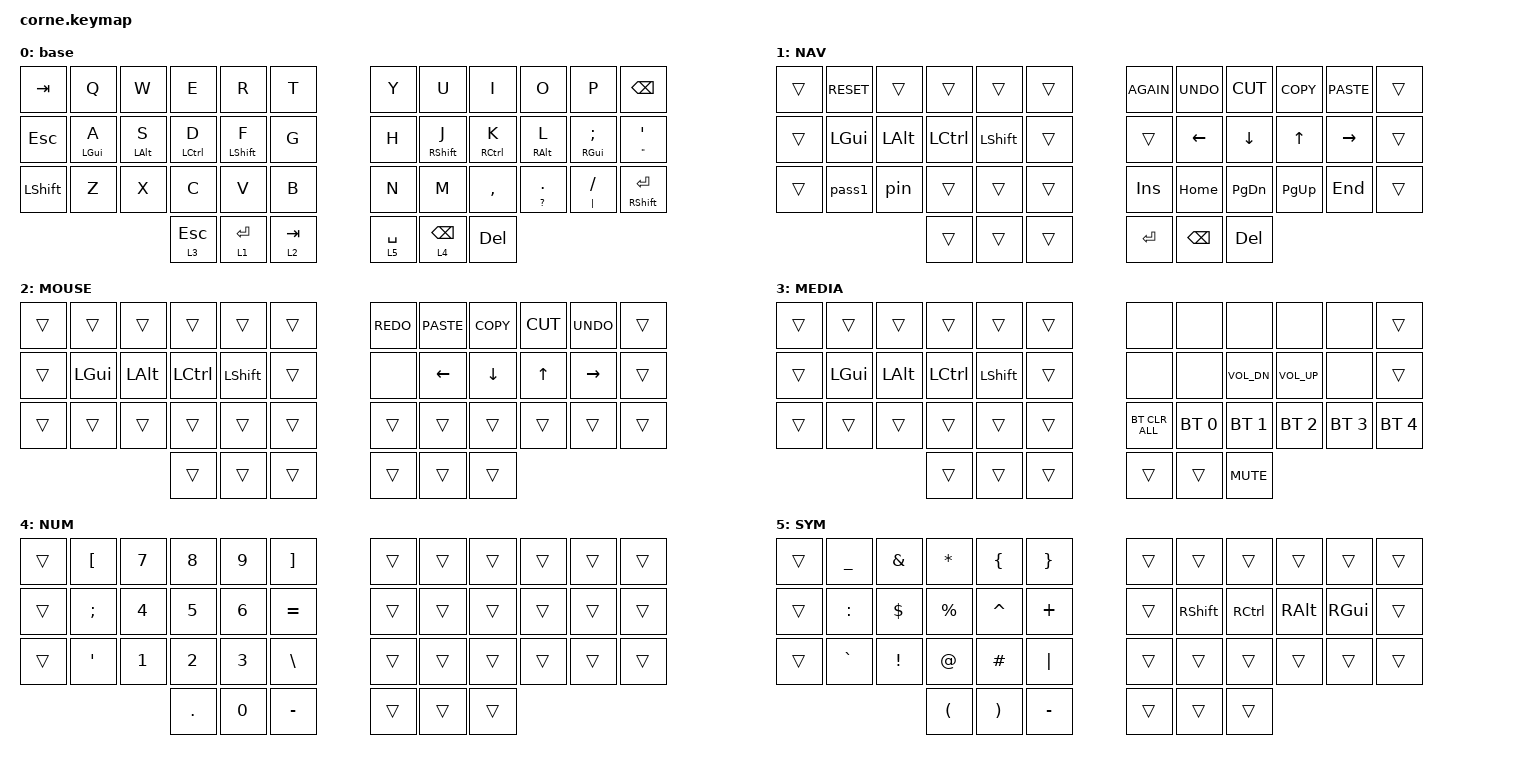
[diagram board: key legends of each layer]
/*
 * Copyright (c) 2020 The ZMK Contributors
 *
 * SPDX-License-Identifier: MIT
 */

#include <behaviors.dtsi>
#include <dt-bindings/zmk/bt.h>
#include <dt-bindings/zmk/keys.h>

/ {
    macros {
        pass1: pass1 {
            compatible = "zmk,behavior-macro";
            #binding-cells = <0>;
            bindings = <&kp X &kp C &kp S &kp D &kp W &kp E &kp N2 &kp N3 &kp LS(X) &kp LS(C) &kp LS(S) &kp LS(D) &kp LS(W) &kp LS(E) &kp AT &kp POUND>;
            label = "PASS1";
        };

        pin: pin {
            compatible = "zmk,behavior-macro";
            #binding-cells = <0>;
            bindings = <&kp N0 &kp N7 &kp N4 &kp N7 &kp N4 &kp N3 &kp N0 &kp N3>;
            label = "PIN";
        };
    };

    keymap {
        compatible = "zmk,keymap";

        base {
            // -----------------------------------------------------------------------------------------
            // |  TAB |  Q  |  W  |  E  |  R  |  T  |   |  Y  |  U   |  I  |  O  |  P  | BSPC |
            // | CTRL |  A  |  S  |  D  |  F  |  G  |   |  H  |  J   |  K  |  L  |  ;  |  '   |
            // | SHFT |  Z  |  X  |  C  |  V  |  B  |   |  N  |  M   |  ,  |  .  |  /  | ESC  |
            //                    | GUI | LWR | SPC |   | ENT | RSE  | ALT |

            bindings = <
&kp TAB     &kp Q           &kp W           &kp E         &kp R             &kp T        &kp Y        &kp U              &kp I        &kp O            &kp P               &kp BSPC
&kp ESCAPE  &mt LEFT_GUI A  &mt LEFT_ALT S  &mt LCTRL D   &mt LEFT_SHIFT F  &kp G        &kp H        &mt RIGHT_SHIFT J  &mt RCTRL K  &mt RIGHT_ALT L  &mt RIGHT_GUI SEMI  &mt DOUBLE_QUOTES APOS
&kp LSHFT   &kp Z           &kp X           &kp C         &kp V             &kp B        &kp N        &kp M              &kp COMMA    &mt QMARK DOT    &mt PIPE FSLH       &mt RIGHT_SHIFT RETURN
                                            &lt 3 ESCAPE  &lt 1 ENTER       &lt 2 TAB    &lt 5 SPACE  &lt 4 BACKSPACE    &kp DELETE
            >;
        };

        NAV {
            // -----------------------------------------------------------------------------------------
            // |  TAB |  1  |  2  |  3  |  4  |  5  |   |  6  |  7  |  8  |  9  |  0  | BSPC |
            // | BTCLR| BT1 | BT2 | BT3 | BT4 | BT5 |   | LFT | DWN |  UP | RGT |     |      |
            // | SHFT |     |     |     |     |     |   |     |     |     |     |     |      |
            //                    | GUI |     | SPC |   | ENT |     | ALT |

            bindings = <
&trans  &kp C_RESET   &trans        &trans     &trans          &trans    &kp K_AGAIN  &kp K_UNDO     &kp K_CUT      &kp K_COPY   &kp K_PASTE  &trans
&trans  &kp LEFT_GUI  &kp LEFT_ALT  &kp LCTRL  &kp LEFT_SHIFT  &trans    &trans       &kp LEFT       &kp DOWN       &kp UP       &kp RIGHT    &trans
&trans  &pass1        &pin          &trans     &trans          &trans    &kp INSERT   &kp HOME       &kp PAGE_DOWN  &kp PAGE_UP  &kp END      &trans
                                    &trans     &trans          &trans    &kp RET      &kp BACKSPACE  &kp DEL
            >;
        };

        MOUSE {
            bindings = <
&trans  &trans        &trans        &trans            &trans          &trans    &kp K_REDO  &kp K_PASTE  &kp K_COPY  &kp K_CUT  &kp K_UNDO  &trans
&trans  &kp LEFT_GUI  &kp LEFT_ALT  &kp LEFT_CONTROL  &kp LEFT_SHIFT  &trans    &none       &kp LEFT     &kp DOWN    &kp UP     &kp RIGHT   &trans
&trans  &trans        &trans        &trans            &trans          &trans    &trans      &trans       &trans      &trans     &trans      &trans
                                    &trans            &trans          &trans    &trans      &trans       &trans
            >;
        };

        MEDIA {
            bindings = <
&trans  &trans        &trans        &trans            &trans          &trans    &none           &none         &none         &none         &none         &trans
&trans  &kp LEFT_GUI  &kp LEFT_ALT  &kp LEFT_CONTROL  &kp LEFT_SHIFT  &trans    &none           &none         &kp C_VOL_DN  &kp C_VOL_UP  &none         &trans
&trans  &trans        &trans        &trans            &trans          &trans    &bt BT_CLR_ALL  &bt BT_SEL 0  &bt BT_SEL 1  &bt BT_SEL 2  &bt BT_SEL 3  &bt BT_SEL 4
                                    &trans            &trans          &trans    &trans          &trans        &kp K_MUTE
            >;
        };

        NUM {
            bindings = <
&trans  &kp LBKT  &kp N7  &kp N8   &kp N9  &kp RBKT     &trans  &trans  &trans  &trans  &trans  &trans
&trans  &kp SEMI  &kp N4  &kp N5   &kp N6  &kp EQUAL    &trans  &trans  &trans  &trans  &trans  &trans
&trans  &kp APOS  &kp N1  &kp N2   &kp N3  &kp BSLH     &trans  &trans  &trans  &trans  &trans  &trans
                          &kp DOT  &kp N0  &kp MINUS    &trans  &trans  &trans
            >;
        };

        SYM {
            bindings = <
&trans  &kp UNDER  &kp AMPS    &kp STAR              &kp LEFT_BRACE         &kp RIGHT_BRACE    &trans  &trans           &trans     &trans         &trans         &trans
&trans  &kp COLON  &kp DOLLAR  &kp PERCENT           &kp CARET              &kp PLUS           &trans  &kp RIGHT_SHIFT  &kp RCTRL  &kp RIGHT_ALT  &kp RIGHT_GUI  &trans
&trans  &kp GRAVE  &kp EXCL    &kp AT                &kp POUND              &kp PIPE           &trans  &trans           &trans     &trans         &trans         &trans
                               &kp LEFT_PARENTHESIS  &kp RIGHT_PARENTHESIS  &kp MINUS          &trans  &trans           &trans
            >;
        };
    };
};
